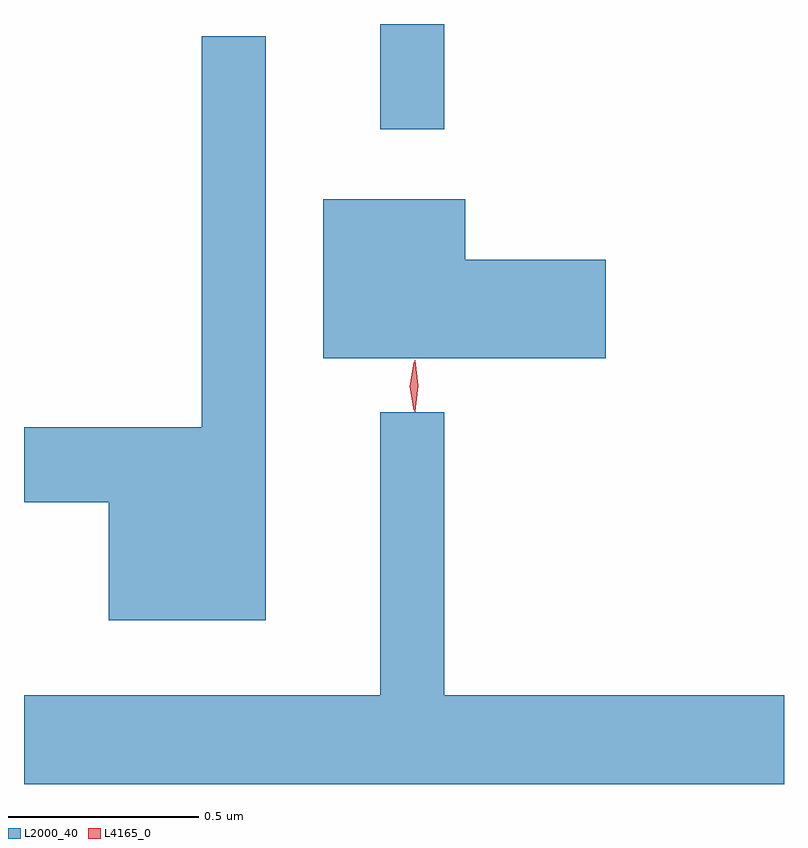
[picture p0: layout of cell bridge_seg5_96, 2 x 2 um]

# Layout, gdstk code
import gdstk
lib = gdstk.Library(unit=1e-6, precision=1e-09)
def R(c, l, rs):  # rectangles x0, y0, x1, y1
    for r in rs: c.add(gdstk.rectangle(r[:2], r[2:], *l))
def P(c, l, *ps):  # polygons
    for p in ps: c.add(gdstk.Polygon(p, *l))
L2000_40 = (2000, 40)
L4165_0 = (4165, 0)

bridge_seg5_96 = lib.new_cell('bridge_seg5_96')
R(bridge_seg5_96, L2000_40, [(1143.971,1467.433,1144.139,1467.71)])
P(bridge_seg5_96, L2000_40, [(1143.669,1467.678),(1143.501,1467.678),(1143.501,1466.649),(1143.033,1466.649),(1143.033,1466.451),(1143.256,1466.451),(1143.256,1466.141),(1143.669,1466.141)],
  [(1144.564,1467.089),(1144.194,1467.089),(1144.194,1467.249),(1143.821,1467.249),(1143.821,1466.831),(1144.564,1466.831)],
  [(1145.033,1465.944),(1144.139,1465.944),(1144.139,1466.688),(1143.971,1466.688),(1143.971,1465.944),(1143.033,1465.944),(1143.033,1465.71),(1145.033,1465.71)])
P(bridge_seg5_96, L4165_0, [(1144.061,1466.69),(1144.061,1466.69),(1144.051,1466.758),(1144.061,1466.825),(1144.061,1466.826),(1144.062,1466.825),(1144.071,1466.758),(1144.062,1466.69)],
  [(1144.058,1466.693),(1144.058,1466.694),(1144.048,1466.756),(1144.058,1466.82),(1144.058,1466.82),(1144.059,1466.82),(1144.068,1466.756),(1144.059,1466.694)])

lib.write_gds('bridge_seg5_96.gds')
